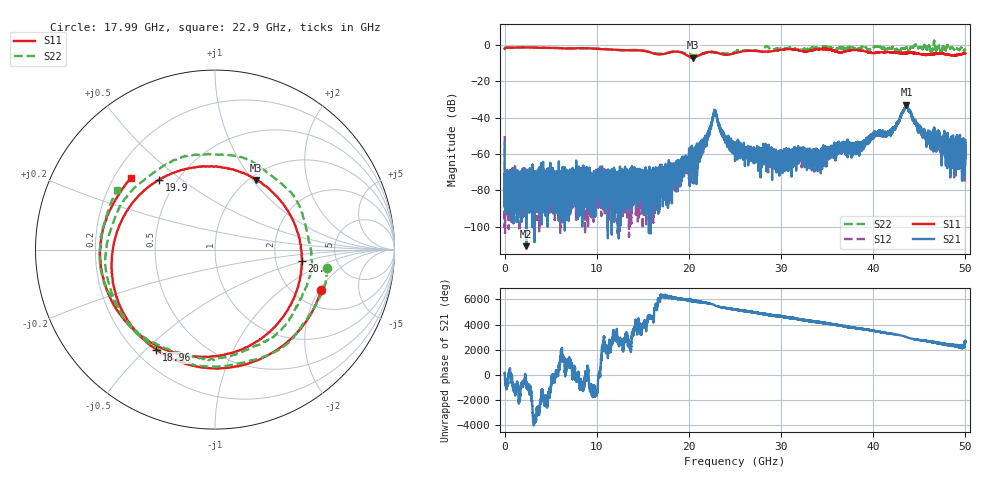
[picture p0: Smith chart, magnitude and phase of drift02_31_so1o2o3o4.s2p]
!Created with skrf (http://scikit-rf.org).
# Hz S RI R 50.0
!freq ReS11 ImS11 ReS21 ImS21 ReS12 ImS12 ReS22 ImS22
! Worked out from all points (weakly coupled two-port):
!   10001 points, 300 kHz to 50 GHz, reference 50 ohm
!   highest |S21| = -32.88 dB at 43.61 GHz (marker M1); lowest = -110.7 dB at 2.35 GHz (marker M2)
!   lowest |S11| = -6.9 dB at 20.4 GHz (marker M3), VSWR 2.64, Z = 53.3 + j51.9 ohm
!   |S11| at or under -10 dB: nowhere
!   |S22| runs from -5.7 to 2.5 dB; largest |S21 - S12| = 0.0036
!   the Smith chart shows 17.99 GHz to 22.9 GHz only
!   S11 on the Smith chart (normalised r, x): 17.99 GHz: 2.76, -2.07; 18.96 GHz: 0.28, -0.54; 19.9 GHz: 0.40, +0.42; 20.9 GHz: 2.82, -0.47; 22.9 GHz: 0.27, +0.34
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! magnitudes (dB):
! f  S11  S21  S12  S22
! 300 kHz  -2.1  -54.0  -50.1  -2.1
! 265.3 MHz  -1.4  -72.9  -79.9  -1.4
! 2.35 GHz  -1.3  -110.7  -75.6  -1.3
! 8.335 GHz  -1.7  -71.6  -76.5  -1.9
! 16.67 GHz  -5.2  -75.1  -73.1  -4.7
! 17.99 GHz  -4.0  -73.5  -70.9  -4.0
! 18.96 GHz  -3.8  -68.8  -67.6  -3.9
! 19.9 GHz  -6.1  -64.3  -67.2  -5.2
! 20.4 GHz  -6.9  -63.3  -63.3  -5.4
! 20.9 GHz  -6.2  -68.1  -60.0  -5.6
! 21.91 GHz  -4.1  -53.2  -53.5  -4.3
! 22.9 GHz  -4.2  -36.4  -36.8  -3.9
! 23.76 GHz  -5.3  -50.3  -49.7  -4.6
! 25 GHz  -4.5  -55.2  -57.6  -3.9
! 29.58 GHz  -3.0  -60.5  -60.6  -2.0
! 33.34 GHz  -3.0  -69.0  -61.2  -1.6
! 37.95 GHz  -2.7  -55.7  -56.7  -1.9
! 41.67 GHz  -4.0  -48.2  -48.2  -1.9
! 43.61 GHz  -4.5  -32.9  -33.5  -1.5
! 45.87 GHz  -5.5  -51.5  -51.4  -2.4
! 49.43 GHz  -5.2  -59.0  -56.3  -2.2
! 50 GHz  -4.6  -52.4  -52.7  -2.6
